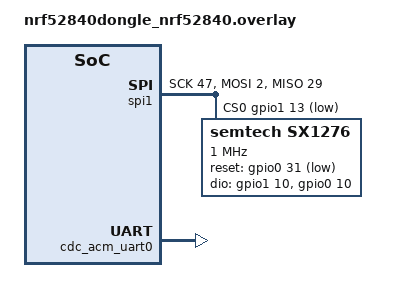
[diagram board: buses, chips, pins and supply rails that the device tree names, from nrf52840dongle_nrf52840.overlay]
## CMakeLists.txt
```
cmake_minimum_required(VERSION 3.8.2)

#Board selection inside zephyr
#set(BOARD nrf52840dk_nrf52840)
#set(BOARD nrf5340pdk_nrf5340_cpunet)
#set(BOARD nrf5340pdk_nrf5340_cpuapp)
set(BOARD nrf52840dongle_nrf52840)
#set(BOARD nrf52840dk_nrf52811)
#Board selection outside zephyr
#set(BOARD_ROOT ./board)

#Toolchain selection
#set(TOOLCHAIN C:/gnuarmemb)

#Zephyr selection
#set(ZEPHYR_BASE L:/Github/ncs/zephyr)
#set(ZEPHYR_BASE L:/Github/ncs-workspace-1.6.1/zephyr)

find_package(Zephyr REQUIRED HINTS $ENV{ZEPHYR_BASE})

project(NONE)

add_subdirectory_ifdef(CONFIG_SZL_ENABLE szl)

# Include all files in folder src
FILE(GLOB app_sources_c src/*.c)
FILE(GLOB app_sources_cpp src/*.cpp)

target_sources(app PRIVATE
	${app_sources_c} ${app_sources_cpp})

target_include_directories(app PRIVATE include)
```

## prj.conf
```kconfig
#
# Copyright (c) 2020 Nordic Semiconductor ASA
#
# SPDX-License-Identifier: LicenseRef-Nordic-5-Clause
#

# General configuration
CONFIG_MAIN_STACK_SIZE=4096
CONFIG_SYSTEM_WORKQUEUE_STACK_SIZE=4096
CONFIG_FLASH=y
CONFIG_FLASH_MAP=y
CONFIG_NVS=y
CONFIG_SETTINGS=y
CONFIG_HWINFO=y
CONFIG_ASSERT=y
CONFIG_ASSERT_LEVEL=2
CONFIG_LOG=y
CONFIG_LOG_PRINTK=y

CONFIG_DK_LIBRARY=y
CONFIG_BT_MESH_DK_PROV=y

# Bluetooth configuration
CONFIG_BT=y
CONFIG_BT_COMPANY_ID=0x0059
CONFIG_BT_DEVICE_NAME="Mesh_Gateway"
#CONFIG_BT_L2CAP_RX_MTU=69
CONFIG_BT_L2CAP_TX_MTU=69
CONFIG_BT_L2CAP_TX_BUF_COUNT=32
CONFIG_BT_LL_SW_SPLIT=y
CONFIG_BT_OBSERVER=y
CONFIG_BT_PERIPHERAL=y
CONFIG_BT_SETTINGS=y
CONFIG_BT_MAX_CONN=3

# Disable unused Bluetooth features
CONFIG_BT_CTLR_DUP_FILTER_LEN=0
CONFIG_BT_CTLR_LE_ENC=n
CONFIG_BT_DATA_LEN_UPDATE=n
CONFIG_BT_PHY_UPDATE=n
CONFIG_BT_CTLR_CHAN_SEL_2=n
CONFIG_BT_CTLR_MIN_USED_CHAN=n
CONFIG_BT_CTLR_PRIVACY=n

# Bluetooth mesh configuration
CONFIG_BT_MESH=y
CONFIG_BT_MESH_RELAY=y
CONFIG_BT_MESH_FRIEND=y
CONFIG_BT_MESH_ADV_BUF_COUNT=64
CONFIG_BT_MESH_TX_SEG_MAX=32
CONFIG_BT_MESH_RX_SEG_MAX=16
CONFIG_BT_MESH_PB_GATT=y
CONFIG_BT_MESH_GATT_PROXY=y

# Bluetooth mesh models
CONFIG_BT_MESH_SENSOR_CLI=y
CONFIG_BT_MESH_PROP_CLI=y
CONFIG_BT_MESH_PROP_MAXCOUNT=64

# Below here is Dongle Support
CONFIG_BOARD_HAS_NRF5_BOOTLOADER=y

# Enable the console, logging and the printk function
CONFIG_CONSOLE=y
CONFIG_SERIAL=y
CONFIG_SZL_ENABLE=y
CONFIG_SZL_USB_CDC_ACM_ENABLE=y
#CONFIG_UART_CONSOLE=y

# Enable FLoat printf
CONFIG_NEWLIB_LIBC=y
CONFIG_NEWLIB_LIBC_FLOAT_PRINTF=y

# LoRa Stuff
CONFIG_LOG=y
CONFIG_SPI=y
CONFIG_GPIO=y
CONFIG_LORA=y
CONFIG_LORA_SX12XX=y
CONFIG_PRINTK=y
```

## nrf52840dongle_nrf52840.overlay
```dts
&spi1 {
   status = "okay";
   	sck-pin = <47>; /* 1.15 */
	mosi-pin = <2>;
	miso-pin = <29>;
	cs-gpios = <&gpio1 13 GPIO_ACTIVE_LOW>; /* 1.13 */

      lora: sx1276@0 {
       compatible = "semtech,sx1276";
       reg = <0>;
       label = "sx1276";
       reset-gpios = <&gpio0 31 GPIO_ACTIVE_LOW>;
       dio-gpios = <&gpio1 10 (GPIO_PULL_DOWN | GPIO_ACTIVE_HIGH)>,<&gpio0 10 (GPIO_PULL_DOWN | GPIO_ACTIVE_HIGH)>;
       spi-max-frequency = <1000000>;
       power-amplifier-output = "pa-boost";
   };

};

/ {
   aliases {
      lora0 = &lora;
 };
};

 / {
	chosen {
		zephyr,console = &cdc_acm_uart0;
	};
};

&usbd {
	cdc_acm_uart0: cdc_acm_uart0 {
		compatible = "zephyr,cdc-acm-uart";
		label = "CDC_ACM_0";
	};
};
```

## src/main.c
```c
/*
 * Copyright (c) 2020 Nordic Semiconductor ASA
 *
 * SPDX-License-Identifier: LicenseRef-Nordic-5-Clause
 */

/** @file
 *  @brief Nordic mesh sensor observer sample
 */
#include <bluetooth/bluetooth.h>
#include <bluetooth/mesh/models.h>
#include <bluetooth/mesh/dk_prov.h>
#include <dk_buttons_and_leds.h>
#include "bm_blemesh.h"
#include "bm_lora.h"
#include "bm_simple_buttons_and_leds.h"

#include <szl_usb_cdc_acm.h>

#include <drivers/sensor.h>

#include <stdio.h>

struct LORA_PDU
{
	double temp;
	double hum;
} __attribute__((packed)) lora_pdu; // Attribute informing compiler to pack all members to 8bits or 1byte

void main(void)
{
	szl_init_usb_cdc_acm();

	bm_blemesh_enable();

	bm_lora_init();

	while (true)
	{
		if (bm_lora_recv(&lora_pdu) > 0)
		{
			printf("BEGIN %0.2f NRD/lora/keller/temp\n", lora_pdu.temp);
			printf("BEGIN %0.2f NRD/lora/keller/hum\n", lora_pdu.hum);
		};
	}
}
```

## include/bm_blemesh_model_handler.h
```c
/*
This file is part of Bluetooth-Benchamrk.

Bluetooth-Benchamrk is free software: you can redistribute it and/or modify
it under the terms of the GNU General Public License as published by
the Free Software Foundation, either version 3 of the License, or
(at your option) any later version.

Bluetooth-Benchamrk is distributed in the hope that it will be useful,
but WITHOUT ANY WARRANTY; without even the implied warranty of
MERCHANTABILITY or FITNESS FOR A PARTICULAR PURPOSE.  See the
GNU General Public License for more details.

You should have received a copy of the GNU General Public License
along with Bluetooth-Benchamrk.  If not, see <http://www.gnu.org/licenses/>.
*/

/* AUTHOR 	 :    Raffael Anklin       */

#ifndef MODEL_HANDLER_H__
#define MODEL_HANDLER_H__


#ifdef __cplusplus
extern "C" {
#endif



const struct bt_mesh_comp *bm_blemesh_model_handler_init(void);


#ifdef __cplusplus
}
#endif

#endif /* MODEL_HANDLER_H__ */
```

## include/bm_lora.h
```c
/*
This file is part of Bluetooth-Benchamrk.

Bluetooth-Benchamrk is free software: you can redistribute it and/or modify
it under the terms of the GNU General Public License as published by
the Free Software Foundation, either version 3 of the License, or
(at your option) any later version.

Bluetooth-Benchamrk is distributed in the hope that it will be useful,
but WITHOUT ANY WARRANTY; without even the implied warranty of
MERCHANTABILITY or FITNESS FOR A PARTICULAR PURPOSE.  See the
GNU General Public License for more details.

You should have received a copy of the GNU General Public License
along with Bluetooth-Benchamrk.  If not, see <http://www.gnu.org/licenses/>.
*/

/* AUTHOR 	 :    Raffael Anklin       */


#ifndef BM_LORA_H__
#define BM_LORA_H__



#ifdef __cplusplus
extern "C" {
#endif



void bm_lora_init();

void bm_lora_send(uint8_t *data, uint32_t data_len);

uint32_t bm_lora_recv(uint8_t *data);


#ifdef __cplusplus
}
#endif

#endif /* MODEL_HANDLER_H__ */
```

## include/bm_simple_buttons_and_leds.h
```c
/*
This file is part of Benchamrk-Shared-Library.

Benchamrk-Shared-Library is free software: you can redistribute it and/or modify
it under the terms of the GNU General Public License as published by
the Free Software Foundation, either version 3 of the License, or
(at your option) any later version.

Benchamrk-Shared-Library is distributed in the hope that it will be useful,
but WITHOUT ANY WARRANTY; without even the implied warranty of
MERCHANTABILITY or FITNESS FOR A PARTICULAR PURPOSE.  See the
GNU General Public License for more details.

You should have received a copy of the GNU General Public License
along with Benchamrk-Shared-Library.  If not, see <http://www.gnu.org/licenses/>.
*/

/* AUTHOR ZEPHYR_BLE_MESH  :   Raffael Anklin        */
/* AUTHOR NRF_SDK_ZIGBEE   :   Cyrill Horath        */


#ifdef __cplusplus
extern "C" {
#endif

#ifndef SIMPLE_BUTTONS_AND_LEDS_H
#define SIMPLE_BUTTONS_AND_LEDS_H


#include <zephyr.h>
#include <device.h>
#include <devicetree.h>
#include <devicetree_unfixed.h>
#include <drivers/gpio.h>
#include <sys/util.h>
#include <sys/slist.h>

/*
 * Devicetree helper macro which gets the 'flags' cell from a 'gpios'
 * property, or returns 0 if the property has no 'flags' cell.
 */

#define FLAGS_OR_ZERO(node)						\
	COND_CODE_1(DT_PHA_HAS_CELL(node, gpios, flags),		\
		    (DT_GPIO_FLAGS(node, gpios)),			\
		    (0))



/* The devicetree node identifier for the "led0" alias. */
#define LED0_NODE DT_ALIAS(led0)

#if DT_NODE_HAS_STATUS(LED0_NODE, okay)
#define LED0	DT_GPIO_LABEL(LED0_NODE, gpios)
#define PIN_LED0	DT_GPIO_PIN(LED0_NODE, gpios)
#if DT_PHA_HAS_CELL(LED0_NODE, gpios, flags)
#define FLAGS_LED0	DT_GPIO_FLAGS(LED0_NODE, gpios)
#endif
#else
/* A build error here means your board isn't set up to blink an LED. */
#error "Unsupported board: led0 devicetree alias is not defined"
#define LED0	""
#define PIN_LED0	0
#endif

#ifndef FLAGS_LED0
#define FLAGS_LED0	0
#endif

/* The devicetree node identifier for the "led1" alias. Is the RED LED on THe nRF52 Donlge*/
#define LED1_NODE DT_ALIAS(led1)

#if DT_NODE_HAS_STATUS(LED1_NODE, okay)
#define LED1	DT_GPIO_LABEL(LED1_NODE, gpios)
#define PIN_LED1	DT_GPIO_PIN(LED1_NODE, gpios)
#if DT_PHA_HAS_CELL(LED1_NODE, gpios, flags)
#define FLAGS_LED1	DT_GPIO_FLAGS(LED1_NODE, gpios)
#endif
#else
/* A build error here means your board isn't set up to blink an LED. */
#error "Unsupported board: led1 devicetree alias is not defined"
#define LED1	""
#define PIN_LED1	0
#endif

#ifndef FLAGS_LED1
#define FLAGS_LED1	0
#endif


/* The devicetree node identifier for the "led2" alias. Is the GREEN LED on THe nRF52 Donlge*/
#define LED2_NODE DT_ALIAS(led2)

#if DT_NODE_HAS_STATUS(LED2_NODE, okay)
#define LED2	DT_GPIO_LABEL(LED2_NODE, gpios)
#define PIN_LED2	DT_GPIO_PIN(LED2_NODE, gpios)
#if DT_PHA_HAS_CELL(LED2_NODE, gpios, flags)
#define FLAGS_LED2	DT_GPIO_FLAGS(LED2_NODE, gpios)
#endif
#else
/* A build error here means your board isn't set up to blink an LED. */
#error "Unsupported board: led2 devicetree alias is not defined"
#define LED2	""
#define PIN_LED2	0
#endif

#ifndef FLAGS_LED2
#define FLAGS_LED1	0
#endif

/* The devicetree node identifier for the "led3" alias. Is the BLUE LED on THe nRF52 Donlge*/
#define LED3_NODE DT_ALIAS(led3)

#if DT_NODE_HAS_STATUS(LED3_NODE, okay)
#define LED3	DT_GPIO_LABEL(LED3_NODE, gpios)
#define PIN_LED3	DT_GPIO_PIN(LED3_NODE, gpios)
#if DT_PHA_HAS_CELL(LED3_NODE, gpios, flags)
#define FLAGS_LED3	DT_GPIO_FLAGS(LED3_NODE, gpios)
#endif
#else
/* A build error here means your board isn't set up to blink an LED. */
#error "Unsupported board: led3 devicetree alias is not defined"
#define LED3	""
#define PIN_LED3	0
#endif

#ifndef FLAGS_LED3
#define FLAGS_LED3	0
#endif


/*
 * Get button configuration from the devicetree sw0 alias.
 *
 * At least a GPIO device and pin number must be provided. The 'flags'
 * cell is optional.
 */

#define SW0_NODE	DT_ALIAS(sw0)

#if DT_NODE_HAS_STATUS(SW0_NODE, okay)
#define SW0_GPIO_LABEL	DT_GPIO_LABEL(SW0_NODE, gpios)
#define SW0_GPIO_PIN	DT_GPIO_PIN(SW0_NODE, gpios)
#define SW0_GPIO_FLAGS	(GPIO_INPUT | FLAGS_OR_ZERO(SW0_NODE) | GPIO_INT_DEBOUNCE)
#else
#error "Unsupported board: sw0 devicetree alias is not defined"
#define SW0_GPIO_LABEL	""
#define SW0_GPIO_PIN	0
#define SW0_GPIO_FLAGS	0
#endif





/**
* Init the Buttons
*
*/
void bm_init_buttons(void (*button0_cb)());

/**
* Init the Signal
*
*/
void bm_init_signal(void (*signal_cb)());

/**
* Init the Pulse
*
*/
void bm_init_pulse(void (*pulse_cb)());


/**
* Get the BUTTON0 Toggled State
*
* @return State of the BUTTON0 Toggled State (0/1)
*/
bool bm_button0_toggle_state_get();

/**
* Set the BUTTON0 Toggled State
*
* @param State of the BUTTON0 Toggled State (0/1)
*/
void bm_button0_toggle_state_set(bool newstate);

/**
* Get the PULSE Toggled State
*
* @return State of the PULSE Toggled State (0/1)
*/
bool bm_pulse_toggle_state_get();

/**
* Set the PULSE Toggled State
*
* @param State of the PULSE Toggled State (0/1)
*/
void bm_pulse_toggle_state_set(bool newstate);

/**
* Get the SIGNAL State
*
* @return State of the SIGNAL State (0/1)
*/
bool bm_signal_state_get();

/**
* Get the SIGNAL Toggled State
*
* @return State of the SIGNAL Toggled State (0/1)
*/
bool bm_signal_toggle_state_get();

/**
* Set the SIGNAL Toggled State
*
* @param State of the SIGNAL Toggled State (0/1)
*/
void bm_signal_toggle_state_set(bool newstate);


/**
* Init the Leds
*
*/
void bm_init_leds();

/**
* Init the Switch
*
*/
void bm_init_switch();

/**
* Set the LED0 State
*
* @param State to set the LED0 to (0/1) (GREEN no RGB on nRF52 Dongle / LED1 on nRF52 DK)
*/
void bm_led0_set(bool state);

/**
* Get the LED0 State
*
* @return State of the LED0 (0/1) (GREEN no RGB on nRF52 Dongle / LED1 on nRF52 DK)
*/
bool bm_led0_get();


/**
* Set the LED1 State
*
* @param State to set the LED1 to (0/1) (RED on nRF52 Dongle / LED2 on nRF52 DK)
*/
void bm_led1_set(bool state);

/**
* Get the LED1 State
*
* @return State of the LED1 (0/1) (RED on nRF52 Dongle / LED2 on nRF52 DK)
*/
bool bm_led1_get();

/**
* Set the LED2 State
*
* @param State to set the LED2 to (0/1) (GREEN on nRF52 Dongle / LED3 on nRF52 DK)
*/
void bm_led2_set(bool state);

/**
* Get the LED2 State
*
* @return State of the LED2 (0/1) (GREEN on nRF52 Dongle / LED3 on nRF52 DK)
*/
bool bm_led2_get();

/**
* Set the LED3 State
*
* @param State to set the LED3 to (0/1) (BLUE on nRF52 Dongle / LED4 on nRF52 DK)
*/
void bm_led3_set(bool state);

/**
* Get the LED3 State
*
* @return State of the LED3 (0/1) (BLUE on nRF52 Dongle / LED4 on nRF52 DK)
*/
bool bm_led3_get();

/**
* Set the Switch State
*
* @param State to set the Switch to (0/1) 
*/
void bm_switch_set(bool state);

/**
* Get the SWITCH State
*
* @return State of the SWITCH (0/1)
*/
bool bm_switch_get();

#endif

#ifdef __cplusplus
}
#endif
```

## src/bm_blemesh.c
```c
/*
This file is part of Bluetooth-Benchamrk.

Bluetooth-Benchamrk is free software: you can redistribute it and/or modify
it under the terms of the GNU General Public License as published by
the Free Software Foundation, either version 3 of the License, or
(at your option) any later version.

Bluetooth-Benchamrk is distributed in the hope that it will be useful,
but WITHOUT ANY WARRANTY; without even the implied warranty of
MERCHANTABILITY or FITNESS FOR A PARTICULAR PURPOSE.  See the
GNU General Public License for more details.

You should have received a copy of the GNU General Public License
along with Bluetooth-Benchamrk.  If not, see <http://www.gnu.org/licenses/>.
*/

/* AUTHOR 	 :    Raffael Anklin       */

/* Pin Assigments: 

| Port.Pin 	| Description
|	P0.26	|	SCL I2C SHT3xd
|	P0.27	|	SDA I2C SHT3xd

*/

#include <bluetooth/bluetooth.h>
#include <bluetooth/mesh/models.h>
#include <drivers/hwinfo.h>
#include "bm_blemesh_model_handler.h"
#include "bm_blemesh.h"
#include <bluetooth/mesh/main.h>
#include "bm_simple_buttons_and_leds.h"



static bool initialized=false; // Flag if the Stack is initialized

static void prov_complete(uint16_t net_idx, uint16_t src)
{
	printk("Prov complete! Addr: 0x%04x\n", src);
}

static void prov_reset(void)
{
	bt_mesh_prov_enable(BT_MESH_PROV_ADV | BT_MESH_PROV_GATT);
}

static int input(bt_mesh_input_action_t act, uint8_t size)
{
	printk("Press a button to set the right number.");
	return 0;
}

static void input_complete(void)
{
	printk("Input Complete");
}

static int output_number(bt_mesh_output_action_t action, uint32_t number)
{
	if (action == BT_MESH_DISPLAY_NUMBER) {
		printk("OOB Number: %u\n", number);
		return 0;
	}

	if (action == BT_MESH_BLINK) {
		printk("Blinking %u times", number);
		return 0;
	}

	return -ENOTSUP;
}

static int output_string(const char *string)
{
	printk("OOB String: %s\n", string);
	return 0;
}

static uint8_t dev_uuid[16];

static struct bt_mesh_prov prov = {
	.uuid = dev_uuid,
	.output_size = 1,
	.output_actions = (0),
	.output_number = output_number,
	.output_string = output_string,
	.input_size = 1,
	.input = input,
	.complete = prov_complete,
	.input_complete = input_complete,
	.reset = prov_reset
	};

// Init the rest while Bluetooth is enabled
static void bt_ready(int err){

	/* --------------- Init Mesh ------------*/
	printk("Init Mesh...\n");
	
	hwinfo_get_device_id(dev_uuid, sizeof(dev_uuid));
	// Do catch for nrf53 -> no HWINFO set (0xFFFF)
	if (dev_uuid[0] == 0xFF && dev_uuid[1] == 0xFF && dev_uuid[5] == 0xFF){
		uint8_t *p0 = (uint8_t*)&NRF_FICR->DEVICEADDR[0]; // Use MAC Address for UUID
		dev_uuid[0] = p0[0];
		dev_uuid[1] = p0[1];
		dev_uuid[2] = p0[2];
		dev_uuid[3] = p0[3];
		uint8_t *p1 = (uint8_t*)&NRF_FICR->DEVICEADDR[1]; // Use MAC Address for UUID
		dev_uuid[4] = p1[0];
		dev_uuid[5] = p1[1];
	}

	err = bt_mesh_init(&prov, bm_blemesh_model_handler_init());
	if (err)
	{
		printk("Initializing mesh failed (err %d)\n", err);
		return;
	}
	printk("Mesh initialized\n");
	/* ===================================*/

	/* ------------- Provisioning ------------*/
	printk("Provisioning...\n");
	if (IS_ENABLED(CONFIG_SETTINGS))
	{
		settings_load();
	}
	/* 
	err = bt_mesh_provision(net_key, net_idx, flags, iv_index, addr,
							dev_key);
	*/
	/* This will be a no-op if settings_load() loaded provisioning info */
	err = bt_mesh_prov_enable(BT_MESH_PROV_ADV | BT_MESH_PROV_GATT);
	if (err == -EALREADY)
	{
		printk("Already Provisioned (Restored Settings)\n");
	}
	else if (err)
	{
		printk("Provisioning failed (err %d)\n", err);
		return;
	}
	else
	{
		printk("Provisioning completed\n");
	}
	/* ===================================*/

	initialized = true;
}

void bm_blemesh_enable(void)
{
	int err;



	/* ---------- Init Bluetooth ---------- */
	printk("Enabling Bluetooth...\n");
	err = bt_enable(bt_ready);
	while (initialized == false){
		k_sleep(K_MSEC(10));
	}
	if (err)
	{
		printk("Bluetooth init failed (err %d)\n", err);
		return;
	} 
	printk("Bluetooth initialized\n");
	/* =====================================*/

	
	//bm_sleep(bm_rand_32 % 5000); // Sleep Random Time for LPN Activation
	/*
	bt_mesh_cfg_friend_set(net_idx,addr,false,&stat);
	printk("Err Code: %d\n", stat);
	bt_mesh_lpn_set(true); // Enable Low Power Node
	*/	
	printk("Configuring done\n");

	//bt_mesh_lpn_set(true); // Enable Low Power Node

	//bm_led0_set(true); // Signal that the Configuring was sucessfull
	/* ===================================*/	


	//bt_mesh_reset();
}
```

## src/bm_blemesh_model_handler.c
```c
/*
This file is part of Bluetooth-Benchamrk.

Bluetooth-Benchamrk is free software: you can redistribute it and/or modify
it under the terms of the GNU General Public License as published by
the Free Software Foundation, either version 3 of the License, or
(at your option) any later version.

Bluetooth-Benchamrk is distributed in the hope that it will be useful,
but WITHOUT ANY WARRANTY; without even the implied warranty of
MERCHANTABILITY or FITNESS FOR A PARTICULAR PURPOSE.  See the
GNU General Public License for more details.

You should have received a copy of the GNU General Public License
along with Bluetooth-Benchamrk.  If not, see <http://www.gnu.org/licenses/>.
*/

/* AUTHOR 	 :    Raffael Anklin       */

/* Pin Assigments: 

| Port.Pin 	| Description
|	P1.10	|	Switch ON/OFF
|	P1.13	|	Signal from Host (1=ON/0=OFF)
|	P1.15	|	Switch Pulse from Host (1s High for Active Switching)

*/

#include "bm_simple_buttons_and_leds.h"
#include "bm_blemesh.h"
#include "bm_blemesh_model_handler.h"

#include <bluetooth/bluetooth.h>
#include <bluetooth/mesh/models.h>
#include <bluetooth/mesh/model_types.h>



/** Health Server definition */
static void attention_on(struct bt_mesh_model *model)
{
	printk("attention_on()\n");
}

static void attention_off(struct bt_mesh_model *model)
{
	printk("attention_off()\n");
}
static const struct bt_mesh_health_srv_cb health_srv_cb = {
	.attn_on = attention_on,
	.attn_off = attention_off,
};

static struct bt_mesh_health_srv health_srv = {
	.cb = &health_srv_cb,
};

BT_MESH_HEALTH_PUB_DEFINE(health_pub, 0);

/* ---------------- Sensor Client Stuff --------------------- */

static void sensor_cli_data_cb(struct bt_mesh_sensor_cli *cli,
			       struct bt_mesh_msg_ctx *ctx,
			       const struct bt_mesh_sensor_type *sensor,
			       const struct sensor_value *value)
{
	if (sensor->id == bt_mesh_sensor_present_dev_op_temp.id) {
		printk("Temperature: %s C\n",
		       bt_mesh_sensor_ch_str_real(value));		
	} else if (sensor->id == bt_mesh_sensor_present_amb_rel_humidity.id) {
		printk("Humidity: %s RH\n",
		       bt_mesh_sensor_ch_str_real(value));
	} else if (sensor->id == bt_mesh_sensor_present_amb_voc_concentration.id) {
		printk("tVOC  Concentration: %s ppm\n",
		       bt_mesh_sensor_ch_str_real(value));
	} else if (sensor->id == bt_mesh_sensor_present_amb_co2_concentration.id) {
		printk("CO2eq Concentration: %s ppm\n",
		       bt_mesh_sensor_ch_str_real(value));
	}
	printk("BEGIN %s NRD/%04x/0052/%04x\n",bt_mesh_sensor_ch_str_real(value),ctx->addr,sensor->id);
}


static const struct bt_mesh_sensor_cli_handlers bt_mesh_sensor_cli_handlers = {
	.data = sensor_cli_data_cb
};

static struct bt_mesh_sensor_cli sensor_cli =
	BT_MESH_SENSOR_CLI_INIT(&bt_mesh_sensor_cli_handlers);


/* -------------------- Composition Stuff ---------------------------*/


/* Define all Elements */
static struct bt_mesh_elem elements[] = {
	BT_MESH_ELEM(
		1, BT_MESH_MODEL_LIST(BT_MESH_MODEL_CFG_SRV, BT_MESH_MODEL_HEALTH_SRV(&health_srv, &health_pub), BT_MESH_MODEL_SENSOR_CLI(&sensor_cli)),
		BT_MESH_MODEL_NONE)};

/* Create Composition */
static const struct bt_mesh_comp comp = {
	.cid = CONFIG_BT_COMPANY_ID,
	.elem = elements,
	.elem_count = ARRAY_SIZE(elements),
};



const struct bt_mesh_comp *bm_blemesh_model_handler_init(void)
{
	
	return &comp;
}
```

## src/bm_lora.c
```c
#include <device.h>
#include <drivers/lora.h>
#include <errno.h>
#include <sys/util.h>
#include <zephyr.h>
#include <logging/log.h>
#include <sys/crc.h>

#include "bm_lora.h"

#include <stdio.h>
#include <stdlib.h>
#include <string.h>

#define DEFAULT_RADIO_NODE DT_ALIAS(lora0)
BUILD_ASSERT(DT_NODE_HAS_STATUS(DEFAULT_RADIO_NODE, okay),
             "No default LoRa radio specified in DT");
#define DEFAULT_RADIO DT_LABEL(DEFAULT_RADIO_NODE)

#define MAX_DATA_LEN 255

struct device *lora_dev;
struct lora_modem_config config;
static int ret, len;
uint8_t data_crc[MAX_DATA_LEN] = {0};
uint16_t crc, crc_calc;
int16_t rssi;
int8_t snr;

void bm_lora_init()
{

    lora_dev = device_get_binding(DEFAULT_RADIO);
    if (!lora_dev)
    {
        printk("%s Device not found\n", DEFAULT_RADIO);
        return;
    }

    config.frequency = 865100000;
    config.bandwidth = BW_125_KHZ;
    config.datarate = SF_10;
    config.preamble_len = 8;
    config.coding_rate = CR_4_5;
    config.tx_power = 4;
    config.tx = true;

    ret = lora_config(lora_dev, &config);
    if (ret < 0)
    {
        printk("LoRa config failed\n");
        return;
    }
}

void bm_lora_send(uint8_t *data, uint32_t data_len)
{
    if (lora_dev == NULL)
    {
        printk("Could not get LoRa device\n");
        return;
    }

    //Prepare Device for Sending
    config.tx_power = 4;
    config.tx = true;

    ret = lora_config(lora_dev, &config);
    if (ret < 0)
    {
        printk("LoRa config failed\n");
        return;
    }

    // Calc CRC
    crc = crc16_ccitt(0, data, (size_t)data_len);
    // Append CRC    
    memcpy(data_crc, data, (size_t)data_len);                   // copy data
    memcpy(data_crc + (size_t)data_len, &crc, sizeof(crc));      // copy crc

    ret = lora_send(lora_dev, data_crc, (size_t)data_len + sizeof(crc));
    if (ret < 0)
    {
        printk("LoRa send failed\n");
        return;
    }

    printk("Data sent!\n");
}

uint32_t bm_lora_recv(uint8_t *data)
{
    if (lora_dev == NULL)
    {
        printk("Could not get LoRa device\n");
        return 0;
    }

    //Prepare Device for Receiving
    config.tx_power = 14;
    config.tx = false;

    ret = lora_config(lora_dev, &config);
    if (ret < 0)
    {
        printk("LoRa config failed\n");
        return 0;
    }
    /* Block until data arrives */
    len = lora_recv(lora_dev, data_crc, MAX_DATA_LEN, K_FOREVER,
                    &rssi, &snr);
    if (len <= 0)
    {
        printk("LoRa receive failed\n");
        return 0;
    }
    /* Decode CRC */
    memcpy(&crc, data_crc + (size_t) len - sizeof(crc), sizeof(crc));      // copy crc
    crc_calc = crc16_ccitt(0,data_crc,(size_t) len - sizeof(crc)); // Calculate CRC
    if (crc != crc_calc)
    {
        printk("LoRa receive CRC Check failed\n");
        return 0;
    } 
    memcpy(data, data_crc, (size_t) len - sizeof(crc));      // copy data    

    printk("Received data: %s (RSSI:%ddBm, SNR:%ddBm)\n",
           log_strdup(data), rssi, snr);
    return len;
}
```

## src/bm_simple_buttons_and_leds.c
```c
/*
This file is part of Benchmark-Shared-Library.

Benchmark-Shared-Library is free software: you can redistribute it and/or modify
it under the terms of the GNU General Public License as published by
the Free Software Foundation, either version 3 of the License, or
(at your option) any later version.

Benchmark-Shared-Library is distributed in the hope that it will be useful,
but WITHOUT ANY WARRANTY; without even the implied warranty of
MERCHANTABILITY or FITNESS FOR A PARTICULAR PURPOSE.  See the
GNU General Public License for more details.

You should have received a copy of the GNU General Public License
along with Benchmark-Shared-Library.  If not, see <http://www.gnu.org/licenses/>.
*/

/* AUTHOR ZEPHYR_BLE_MESH  :   Raffael Anklin        */
/* AUTHOR NRF_SDK_ZIGBEE   :   Cyrill Horath        */

#include "bm_simple_buttons_and_leds.h"


struct device *dev_led0, *dev_led1, *dev_led2, *dev_led3, *dev_button0;
bool led0_is_on, led1_is_on, led2_is_on, led3_is_on = true;
bool button0_toggel_state = true;
int ret;

static struct gpio_callback button_cb_data;

static struct k_delayed_work buttons_debounce;

static void (*button0_callback)();

static void buttons_debounce_fn(struct k_work *work) {
  button0_toggel_state = !button0_toggel_state;
  button0_callback();
}

void button_pressed(struct device *dev, struct gpio_callback *cb,
    uint32_t pins) {
  if (dev == dev_button0) {
    k_delayed_work_submit(&buttons_debounce, K_MSEC(170)); // Debounce the Button
                                                           //button0_callback();
  }
  //printk("Button pressed at %" PRIu32 "\n", k_cycle_get_32());
}

/* Init the Buttons */
void bm_init_buttons(void (*button0_cb)()) {
  dev_button0 = device_get_binding(SW0_GPIO_LABEL);
  if (dev_button0 == NULL) {
    printk("Error: didn't find %s device\n", SW0_GPIO_LABEL);
    return;
  }
  ret = gpio_pin_configure(dev_button0, SW0_GPIO_PIN, SW0_GPIO_FLAGS);
  if (ret != 0) {
    printk("Error %d: failed to configure %s pin %d\n",
        ret, SW0_GPIO_LABEL, SW0_GPIO_PIN);
    return;
  }
  ret = gpio_pin_interrupt_configure(dev_button0,
      SW0_GPIO_PIN,
      GPIO_INT_EDGE_TO_ACTIVE);
  if (ret != 0) {
    printk("Error %d: failed to configure interrupt on %s pin %d\n",
        ret, SW0_GPIO_LABEL, SW0_GPIO_PIN);
    return;
  }

  gpio_init_callback(&button_cb_data, button_pressed, BIT(SW0_GPIO_PIN));
  gpio_add_callback(dev_button0, &button_cb_data);
  printk("Set up button at %s pin %d\n", SW0_GPIO_LABEL, SW0_GPIO_PIN);
  button0_callback = button0_cb;

  k_delayed_work_init(&buttons_debounce, buttons_debounce_fn);
}


/* Init the Leds */
void bm_init_leds() {
  dev_led0 = device_get_binding(LED0);
  if (dev_led0 == NULL) {
    printk("Error no LED0 found");
    return;
  }
  ret = gpio_pin_configure(dev_led0, PIN_LED0, GPIO_OUTPUT_INACTIVE | FLAGS_LED0);
  if (ret < 0) {
    printk("Error in configuration of led0 pin (err %d)", ret);
    return;
  }
  dev_led1 = device_get_binding(LED1);
  if (dev_led1 == NULL) {
    printk("Error no LED1 found");
    return;
  }
  ret = gpio_pin_configure(dev_led1, PIN_LED1, GPIO_OUTPUT_INACTIVE | FLAGS_LED1);
  if (ret < 0) {
    printk("Error in configuration of led1 pin (err %d)", ret);
    return;
  }
  dev_led2 = device_get_binding(LED2);
  if (dev_led2 == NULL) {
    printk("Error no LED2 found");
    return;
  }
  ret = gpio_pin_configure(dev_led2, PIN_LED2, GPIO_OUTPUT_INACTIVE | FLAGS_LED2);
  if (ret < 0) {
    printk("Error in configuration of led2 pin (err %d)", ret);
    return;
  }
  dev_led3 = device_get_binding(LED3);
  if (dev_led3 == NULL) {
    printk("Error no LED3 found");
    return;
  }
  ret = gpio_pin_configure(dev_led3, PIN_LED3, GPIO_OUTPUT_INACTIVE | FLAGS_LED3);
  if (ret < 0) {
    printk("Error in configuration of led3 pin (err %d)", ret);
    return;
  }
}



/* Set LED0. pca10059 -> Green LED */
void bm_led0_set(bool state) {
  gpio_pin_set(dev_led0, PIN_LED0, (int)state);
  led0_is_on = state;
}

/* Get LED0 */
bool bm_led0_get() {
  return led0_is_on;
}

/* Set LED1. pca10059 -> Red LED (RGB) */
void bm_led1_set(bool state) {
  gpio_pin_set(dev_led1, PIN_LED1, (int)state);
  led1_is_on = state;
}

/* Get LED1 */
bool bm_led1_get() {
  return led1_is_on;
}

/* Set LED2. pca10059 -> Green LED (RGB) */
void bm_led2_set(bool state) {
  gpio_pin_set(dev_led2, PIN_LED2, (int)state);
  led2_is_on = state;
}

/* Get LED2 */
bool bm_led2_get() {
  return led2_is_on;
}

/* Set LED3. pca10059 -> Blue LED (RGB)  */
void bm_led3_set(bool state) {
  gpio_pin_set(dev_led3, PIN_LED3, (int)state);
  led3_is_on = state;
}

/* Get LED3 */
bool bm_led3_get() {
  return led3_is_on;
}



/* Get BUTTON0 Toggled State*/
bool bm_button0_toggle_state_get() {
  //gpio_pin_get(dev_led0, PIN_LED0, (int)state);
  return button0_toggel_state;
}

/* Set BUTTON0 Toggled State*/
void bm_button0_toggle_state_set(bool newstate) {
  //gpio_pin_get(dev_led0, PIN_LED0, (int)state);
  button0_toggel_state = newstate;
}
```

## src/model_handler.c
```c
/*
 * Copyright (c) 2020 Nordic Semiconductor ASA
 *
 * SPDX-License-Identifier: LicenseRef-Nordic-5-Clause
 */

#include <bluetooth/bluetooth.h>
#include <bluetooth/mesh/models.h>
#include <dk_buttons_and_leds.h>
#include "model_handler.h"

/* ---------------- Sensor Client Stuff --------------------- */

#define GET_DATA_INTERVAL 30000

static void sensor_cli_data_cb(struct bt_mesh_sensor_cli *cli,
			       struct bt_mesh_msg_ctx *ctx,
			       const struct bt_mesh_sensor_type *sensor,
			       const struct sensor_value *value)
{
	if (sensor->id == bt_mesh_sensor_present_dev_op_temp.id) {
		printk("Temperature: %s C\n",
		       bt_mesh_sensor_ch_str_real(value));		
	} else if (sensor->id == bt_mesh_sensor_present_amb_rel_humidity.id) {
		printk("Humidity: %s RH\n",
		       bt_mesh_sensor_ch_str_real(value));
	} else if (sensor->id == bt_mesh_sensor_present_amb_voc_concentration.id) {
		printk("tVOC  Concentration: %s ppm\n",
		       bt_mesh_sensor_ch_str_real(value));
	} else if (sensor->id == bt_mesh_sensor_present_amb_co2_concentration.id) {
		printk("CO2eq Concentration: %s ppm\n",
		       bt_mesh_sensor_ch_str_real(value));
	}
	printk("BEGIN %s NRD/%04x/0052/%04x\n",bt_mesh_sensor_ch_str_real(value),ctx->addr,sensor->id);
}

static void sensor_cli_series_entry_cb(
	struct bt_mesh_sensor_cli *cli, struct bt_mesh_msg_ctx *ctx,
	const struct bt_mesh_sensor_type *sensor, uint8_t index, uint8_t count,
	const struct bt_mesh_sensor_series_entry *entry)
{
	printk("Relative runtime in %d to %d degrees: %s percent\n",
	       entry->value[1].val1, entry->value[2].val1,
	       bt_mesh_sensor_ch_str_real(&entry->value[0]));
}

static const struct bt_mesh_sensor_cli_handlers bt_mesh_sensor_cli_handlers = {
	.data = sensor_cli_data_cb,
	.series_entry = sensor_cli_series_entry_cb,
};

static struct bt_mesh_sensor_cli sensor_cli =
	BT_MESH_SENSOR_CLI_INIT(&bt_mesh_sensor_cli_handlers);



/*
static struct bt_mesh_prop_cli prop_cli = BT_MESH_PROP_CLI_INIT(NULL,NULL);

struct bt_mesh_prop props[CONFIG_BT_MESH_PROP_MAXCOUNT];
struct bt_mesh_prop_val propsval[CONFIG_BT_MESH_PROP_MAXCOUNT];
uint16_t values_16[CONFIG_BT_MESH_PROP_MAXCOUNT];

static struct k_delayed_work get_data_work;

static void get_data(struct k_work *work)
{

	if (bt_mesh_is_provisioned())
		{
		int err;
		for (int i = 0; i < sizeof(propsval)/sizeof(propsval[0]); i++)
		{
			err = bt_mesh_prop_cli_prop_get(&prop_cli,NULL,BT_MESH_PROP_SRV_KIND_ADMIN,propsval[i].meta.id,&propsval[i]);
			printk("Get Props Values returned %d, id %d, val %d\n",err, propsval[i].meta.id, *propsval[i].value);
			//printk("BEGIN %s NRD/%04x/0052/%04x\n",bt_mesh_sensor_ch_str_real(value),ctx->addr,sensor->id);
		}
	}
	k_delayed_work_submit(&get_data_work, K_MSEC(GET_DATA_INTERVAL));
}

*/


/* Set up a repeating delayed work to blink the DK's LEDs when attention is
 * requested.
 */
static struct k_delayed_work attention_blink_work;

static void attention_blink(struct k_work *work)
{
	static int idx;
	const uint8_t pattern[] = {
		BIT(0) | BIT(1),
		BIT(1) | BIT(2),
		BIT(2) | BIT(3),
		BIT(3) | BIT(0),
	};

	dk_set_leds(pattern[idx++ % ARRAY_SIZE(pattern)]);
	k_delayed_work_submit(&attention_blink_work, K_MSEC(30));
}

static void attention_on(struct bt_mesh_model *mod)
{
	k_delayed_work_submit(&attention_blink_work, K_NO_WAIT);
}

static void attention_off(struct bt_mesh_model *mod)
{
	k_delayed_work_cancel(&attention_blink_work);
	dk_set_leds(DK_NO_LEDS_MSK);
}

static const struct bt_mesh_health_srv_cb health_srv_cb = {
	.attn_on = attention_on,
	.attn_off = attention_off,
};

static struct bt_mesh_health_srv health_srv = {
	.cb = &health_srv_cb,
};

BT_MESH_HEALTH_PUB_DEFINE(health_pub, 0);

static struct bt_mesh_elem elements[] = {
	BT_MESH_ELEM(1,
		     BT_MESH_MODEL_LIST(BT_MESH_MODEL_CFG_SRV,
					BT_MESH_MODEL_HEALTH_SRV(&health_srv,
								 &health_pub),
					BT_MESH_MODEL_SENSOR_CLI(&sensor_cli)),
		     BT_MESH_MODEL_NONE),
};

static const struct bt_mesh_comp comp = {
	.cid = CONFIG_BT_COMPANY_ID,
	.elem = elements,
	.elem_count = ARRAY_SIZE(elements),
};



const struct bt_mesh_comp *model_handler_init(void)
{
	k_delayed_work_init(&attention_blink_work, attention_blink);
	//k_delayed_work_init(&get_data_work, get_data);

	//k_delayed_work_submit(&get_data_work, K_MSEC(GET_DATA_INTERVAL));

	return &comp;
}
```
